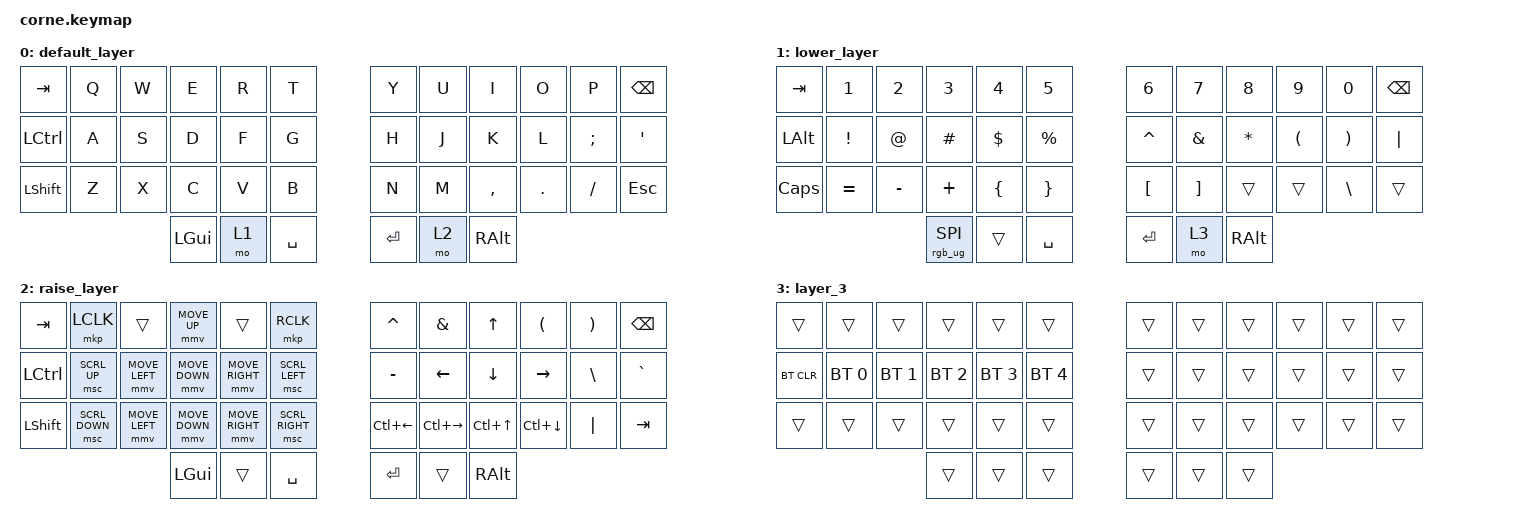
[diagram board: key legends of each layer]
/*
 * Copyright (c) 2020 The ZMK Contributors
 *
 * SPDX-License-Identifier: MIT
 */
#define ZMK_POINTING_DEFAULT_MOVE_VAL 1500  // default: 600
#define ZMK_POINTING_DEFAULT_SCRL_VAL 20    // default: 10

#include <behaviors.dtsi>
#include <dt-bindings/zmk/bt.h>
#include <dt-bindings/zmk/keys.h>
#include <dt-bindings/zmk/pointing.h>
#include <dt-bindings/zmk/rgb.h>

/ {
    keymap {
        compatible = "zmk,keymap";

        default_layer {
            // -----------------------------------------------------------------------------------------
            // |  TAB |  Q  |  W  |  E  |  R  |  T  |   |  Y  |  U   |  I  |  O  |  P  | BKSP |
            // | CTRL |  A  |  S  |  D  |  F  |  G  |   |  H  |  J   |  K  |  L  |  ;  |  '   |
            // | SHFT |  Z  |  X  |  C  |  V  |  B  |   |  N  |  M   |  ,  |  .  |  /  | ESC  |
            //                    | GUI | LWR | SPC |   | ENT | RSE  | ALT |

            bindings = <
&kp TAB    &kp Q  &kp W  &kp E     &kp R  &kp T        &kp Y    &kp U  &kp I      &kp O    &kp P     &kp BSPC
&kp LCTRL  &kp A  &kp S  &kp D     &kp F  &kp G        &kp H    &kp J  &kp K      &kp L    &kp SEMI  &kp SQT
&kp LSHFT  &kp Z  &kp X  &kp C     &kp V  &kp B        &kp N    &kp M  &kp COMMA  &kp DOT  &kp FSLH  &kp ESC
                         &kp LGUI  &mo 1  &kp SPACE    &kp RET  &mo 2  &kp RALT
            >;
        };

        lower_layer {
            // -----------------------------------------------------------------------------------------
            // |  TAB |  1  |  2  |  3  |  4  |  5  |   |  6  |  7  |  8  |  9  |  0  | BKSP |
            // | BTCLR| BT1 | BT2 | BT3 | BT4 | BT5 |   | LFT | DWN |  UP | RGT |     |      |
            // | SHFT |     |     |     |     |     |   |     |     |     |     |     |      |
            //                    | GUI |     | SPC |   | ENT |     | ALT |

            bindings = <
&kp TAB       &kp N1           &kp N2       &kp N3           &kp N4          &kp N5             &kp N6            &kp N7             &kp N8        &kp N9                &kp N0                 &kp BSPC
&kp LEFT_ALT  &kp EXCLAMATION  &kp AT_SIGN  &kp HASH         &kp DOLLAR      &kp PERCENT        &kp CARET         &kp AMPERSAND      &kp ASTERISK  &kp LEFT_PARENTHESIS  &kp RIGHT_PARENTHESIS  &kp PIPE
&kp CAPSLOCK  &kp EQUAL        &kp MINUS    &kp PLUS         &kp LEFT_BRACE  &kp RIGHT_BRACE    &kp LEFT_BRACKET  &kp RIGHT_BRACKET  &trans        &trans                &kp BACKSLASH          &trans
                                            &rgb_ug RGB_SPI  &trans          &kp SPACE          &kp RET           &mo 3              &kp RALT
            >;
        };

        raise_layer {
            // -----------------------------------------------------------------------------------------
            // |  TAB |  !  |  @  |  #  |  $  |  %  |   |  ^  |  &  |  *  |  (  |  )  | BKSP |
            // | CTRL |     |     |     |     |     |   |  -  |  =  |  [  |  ]  |  \  |  `   |
            // | SHFT |     |     |     |     |     |   |  _  |  +  |  {  |  }  | "|" |  ~   |
            //                    | GUI |     | SPC |   | ENT |     | ALT |

            bindings = <
&kp TAB    &mkp LCLK       &trans          &mmv MOVE_UP    &trans           &mkp RCLK          &kp CARET           &kp AMPS        &kp UP_ARROW      &kp LPAR            &kp RPAR  &kp BSPC
&kp LCTRL  &msc SCRL_UP    &mmv MOVE_LEFT  &mmv MOVE_DOWN  &mmv MOVE_RIGHT  &msc SCRL_LEFT     &kp MINUS           &kp LEFT_ARROW  &kp DOWN_ARROW    &kp RIGHT           &kp BSLH  &kp GRAVE
&kp LSHFT  &msc SCRL_DOWN  &mmv MOVE_LEFT  &mmv MOVE_DOWN  &mmv MOVE_RIGHT  &msc SCRL_RIGHT    &kp LC(LEFT_ARROW)  &kp LC(RIGHT)   &kp LC(UP_ARROW)  &kp LC(DOWN_ARROW)  &kp PIPE  &kp TAB
                                           &kp LGUI        &trans           &kp SPACE          &kp RET             &trans          &kp RALT
            >;
        };

        layer_3 {
            bindings = <
&trans      &trans        &trans        &trans        &trans        &trans          &trans  &trans  &trans  &trans  &trans  &trans
&bt BT_CLR  &bt BT_SEL 0  &bt BT_SEL 1  &bt BT_SEL 2  &bt BT_SEL 3  &bt BT_SEL 4    &trans  &trans  &trans  &trans  &trans  &trans
&trans      &trans        &trans        &trans        &trans        &trans          &trans  &trans  &trans  &trans  &trans  &trans
                                        &trans        &trans        &trans          &trans  &trans  &trans
            >;
        };
    };
};
